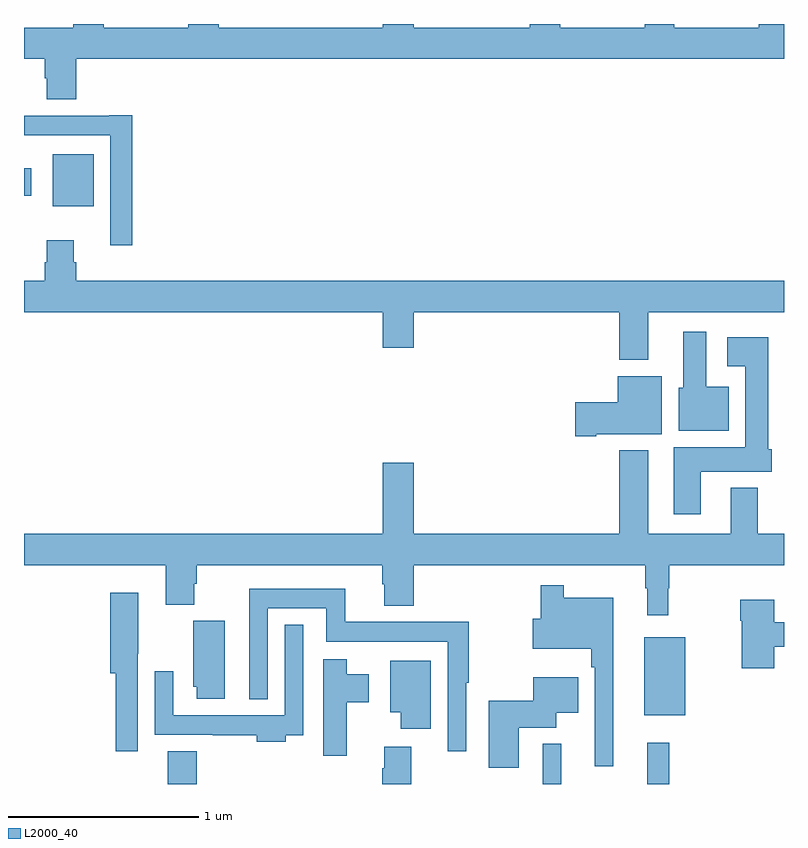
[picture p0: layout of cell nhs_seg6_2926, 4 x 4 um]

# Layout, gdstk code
import gdstk
lib = gdstk.Library(unit=1e-6, precision=1e-09)
def R(c, l, rs):  # rectangles x0, y0, x1, y1
    for r in rs: c.add(gdstk.rectangle(r[:2], r[2:], *l))
def P(c, l, *ps):  # polygons
    for p in ps: c.add(gdstk.Polygon(p, *l))
L2000_40 = (2000, 40)

nhs_seg6_2926 = lib.new_cell('nhs_seg6_2926')
R(nhs_seg6_2926, L2000_40, [(283.757,963.5,283.91,963.673), (285.729,963.5,285.827,963.712), (286.28,963.5,286.397,963.718), (286.265,963.863,286.48,964.273), (283.151,966.542,283.366,966.814), (283,966.595,283.039,966.742)])
P(nhs_seg6_2926, L2000_40, [(283.274,967.316),(287,967.316),(287,967.5),(286.867,967.5),(286.867,967.48),(286.422,967.48),(286.422,967.5),(286.267,967.5),(286.267,967.48),(285.822,967.48),(285.822,967.5),(285.662,967.5),(285.662,967.48),(285.052,967.48),(285.052,967.5),(284.888,967.5),(284.888,967.48),(284.024,967.48),(284.024,967.5),(283.864,967.5),(283.864,967.48),(283.419,967.48),(283.419,967.5),(283.259,967.5),(283.259,967.48),(283,967.48),(283,967.316),(283.109,967.316),(283.109,967.215),(283.121,967.215),(283.121,967.103),(283.274,967.103)],
  [(283.571,967.021),(283.448,967.021),(283.448,967.018),(283,967.018),(283,966.914),(283.455,966.914),(283.455,966.336),(283.571,966.336)],
  [(286.285,965.984),(287,965.984),(287,966.148),(283.274,966.148),(283.274,966.246),(283.261,966.246),(283.261,966.361),(283.121,966.361),(283.121,966.246),(283.109,966.246),(283.109,966.148),(283,966.148),(283,965.984),(284.888,965.984),(284.888,965.796),(285.052,965.796),(285.052,965.984),(286.133,965.984),(286.133,965.732),(286.285,965.732)],
  [(286.708,965.59),(286.591,965.59),(286.591,965.881),(286.469,965.881),(286.469,965.586),(286.445,965.586),(286.445,965.36),(286.708,965.36)],
  [(286.561,965.144),(286.936,965.144),(286.936,965.262),(286.918,965.262),(286.918,965.851),(286.701,965.851),(286.701,965.699),(286.796,965.699),(286.796,965.272),(286.421,965.272),(286.421,964.92),(286.561,964.92)],
  [(286.012,965.342),(286.357,965.342),(286.357,965.647),(286.124,965.647),(286.124,965.508),(285.9,965.508),(285.9,965.33),(286.012,965.33)],
  [(286.39,964.529),(286.397,964.529),(286.397,964.652),(287,964.652),(287,964.816),(286.861,964.816),(286.861,965.059),(286.721,965.059),(286.721,964.816),(286.285,964.816),(286.285,965.257),(286.133,965.257),(286.133,964.816),(285.052,964.816),(285.052,965.191),(284.888,965.191),(284.888,964.816),(283,964.816),(283,964.652),(283.745,964.652),(283.745,964.444),(283.897,964.444),(283.897,964.553),(283.91,964.553),(283.91,964.652),(284.885,964.652),(284.885,964.551),(284.897,964.551),(284.897,964.439),(285.05,964.439),(285.05,964.652),(286.269,964.652),(286.269,964.529),(286.28,964.529),(286.28,964.389),(286.39,964.389)],
  [(286.102,964.48),(285.841,964.48),(285.841,964.546),(285.72,964.546),(285.72,964.369),(285.678,964.369),(285.678,964.211),(285.985,964.211),(285.985,964.115),(286.005,964.115),(286.005,963.594),(286.102,963.594)],
  [(285.327,964.033),(285.34,964.033),(285.34,964.354),(284.69,964.354),(284.69,964.528),(284.186,964.528),(284.186,963.947),(284.283,963.947),(284.283,964.424),(284.592,964.424),(284.592,964.25),(285.231,964.25),(285.231,963.672),(285.327,963.672)],
  [(283.599,964.186),(283.6,964.186),(283.6,964.507),(283.454,964.507),(283.454,964.082),(283.483,964.082),(283.483,963.672),(283.599,963.672)],
  [(286.949,964.222),(287,964.222),(287,964.351),(286.949,964.351),(286.949,964.471),(286.771,964.471),(286.771,964.358),(286.778,964.358),(286.778,964.11),(286.949,964.11)],
  [(284.056,964.359),(283.892,964.359),(283.892,964.011),(283.91,964.011),(283.91,963.948),(284.056,963.948)],
  [(284.377,963.756),(284.469,963.756),(284.469,964.339),(284.373,964.339),(284.373,963.862),(283.785,963.862),(283.785,964.093),(283.689,964.093),(283.689,963.758),(283.993,963.758),(283.993,963.756),(284.225,963.756),(284.225,963.722),(284.377,963.722)],
  [(284.698,963.931),(284.815,963.931),(284.815,964.078),(284.698,964.078),(284.698,964.156),(284.576,964.156),(284.576,963.648),(284.698,963.648)],
  [(285.142,964.15),(284.927,964.15),(284.927,963.878),(284.984,963.878),(284.984,963.792),(285.142,963.792)],
  [(285.604,963.797),(285.802,963.797),(285.802,963.875),(285.916,963.875),(285.916,964.063),(285.68,964.063),(285.68,963.937),(285.446,963.937),(285.446,963.585),(285.604,963.585)],
  [(285.037,963.697),(284.897,963.697),(284.897,963.582),(284.885,963.582),(284.885,963.5),(285.037,963.5)])

lib.write_gds('nhs_seg6_2926.gds')
